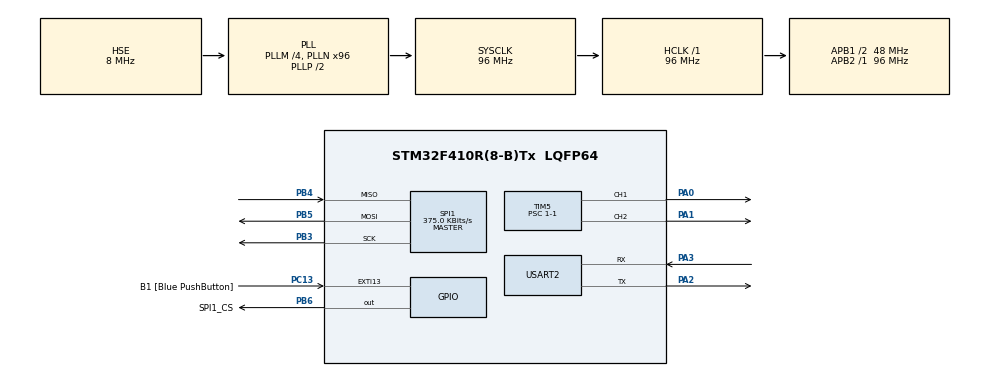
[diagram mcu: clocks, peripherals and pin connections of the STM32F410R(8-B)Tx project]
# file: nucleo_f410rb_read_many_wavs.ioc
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Dma.Request0=SPI1_RX
Dma.Request1=SPI1_TX
Dma.Request2=TIM5_CH1
Dma.Request3=TIM5_CH2
Dma.SPI1_RX.0.Direction=DMA_PERIPH_TO_MEMORY
Dma.SPI1_RX.0.FIFOMode=DMA_FIFOMODE_DISABLE
Dma.SPI1_RX.0.Instance=DMA2_Stream2
Dma.SPI1_RX.0.MemDataAlignment=DMA_MDATAALIGN_BYTE
Dma.SPI1_RX.0.MemInc=DMA_MINC_ENABLE
Dma.SPI1_RX.0.Mode=DMA_NORMAL
Dma.SPI1_RX.0.PeriphDataAlignment=DMA_PDATAALIGN_BYTE
Dma.SPI1_RX.0.PeriphInc=DMA_PINC_DISABLE
Dma.SPI1_RX.0.Priority=DMA_PRIORITY_LOW
Dma.SPI1_TX.1.Direction=DMA_MEMORY_TO_PERIPH
Dma.SPI1_TX.1.FIFOMode=DMA_FIFOMODE_DISABLE
Dma.SPI1_TX.1.Instance=DMA2_Stream3
Dma.SPI1_TX.1.MemDataAlignment=DMA_MDATAALIGN_BYTE
Dma.SPI1_TX.1.MemInc=DMA_MINC_ENABLE
Dma.SPI1_TX.1.Mode=DMA_NORMAL
Dma.SPI1_TX.1.PeriphDataAlignment=DMA_PDATAALIGN_BYTE
Dma.SPI1_TX.1.PeriphInc=DMA_PINC_DISABLE
Dma.SPI1_TX.1.Priority=DMA_PRIORITY_LOW
Dma.TIM5_CH1.2.Direction=DMA_MEMORY_TO_PERIPH
Dma.TIM5_CH1.2.FIFOMode=DMA_FIFOMODE_DISABLE
Dma.TIM5_CH1.2.Instance=DMA1_Stream2
Dma.TIM5_CH1.2.MemDataAlignment=DMA_MDATAALIGN_WORD
Dma.TIM5_CH1.2.MemInc=DMA_MINC_ENABLE
Dma.TIM5_CH1.2.Mode=DMA_CIRCULAR
Dma.TIM5_CH1.2.PeriphDataAlignment=DMA_PDATAALIGN_WORD
Dma.TIM5_CH1.2.PeriphInc=DMA_PINC_DISABLE
Dma.TIM5_CH1.2.Priority=DMA_PRIORITY_LOW
Dma.TIM5_CH2.3.Direction=DMA_MEMORY_TO_PERIPH
Dma.TIM5_CH2.3.FIFOMode=DMA_FIFOMODE_DISABLE
Dma.TIM5_CH2.3.Instance=DMA1_Stream4
Dma.TIM5_CH2.3.MemDataAlignment=DMA_MDATAALIGN_WORD
Dma.TIM5_CH2.3.MemInc=DMA_MINC_ENABLE
Dma.TIM5_CH2.3.Mode=DMA_CIRCULAR
Dma.TIM5_CH2.3.PeriphDataAlignment=DMA_PDATAALIGN_WORD
Dma.TIM5_CH2.3.PeriphInc=DMA_PINC_DISABLE
Dma.TIM5_CH2.3.Priority=DMA_PRIORITY_LOW
FATFS._USE_LABEL=1
FATFS._USE_LFN=1
Mcu.Family=STM32F4
Mcu.Name=STM32F410R(8-B)Tx
Mcu.Package=LQFP64
NVIC.DMA1_Stream2_IRQn=true\:0\:0\:false\:false\:true\:false\:true\:true
NVIC.DMA1_Stream4_IRQn=true\:0\:0\:false\:false\:true\:false\:true\:true
NVIC.DMA2_Stream2_IRQn=true\:0\:0\:false\:false\:true\:false\:true\:true
NVIC.DMA2_Stream3_IRQn=true\:0\:0\:false\:false\:true\:false\:true\:true
NVIC.EXTI15_10_IRQn=true\:0\:0\:false\:false\:true\:true\:true\:true
NVIC.PriorityGroup=NVIC_PRIORITYGROUP_4
PA0-WKUP.GPIO_Speed=GPIO_SPEED_FREQ_HIGH
PA0-WKUP.Signal=S_TIM5_CH1
PA1.GPIO_Speed=GPIO_SPEED_FREQ_HIGH
PA1.Signal=S_TIM5_CH2
PA13.Mode=Serial_Wire
PA13.Signal=SYS_JTMS-SWDIO
PA14.Mode=Serial_Wire
PA14.Signal=SYS_JTCK-SWCLK
PA2.Mode=Asynchronous
PA2.Signal=USART2_TX
PA3.Mode=Asynchronous
PA3.Signal=USART2_RX
PB3.Mode=Full_Duplex_Master
PB3.Signal=SPI1_SCK
PB4.Mode=Full_Duplex_Master
PB4.Signal=SPI1_MISO
PB5.Mode=Full_Duplex_Master
PB5.Signal=SPI1_MOSI
PB6.GPIO_Label=SPI1_CS
PB6.GPIO_Speed=GPIO_SPEED_FREQ_HIGH
PB6.PinState=GPIO_PIN_SET
PB6.Signal=GPIO_Output
PC13-ANTI_TAMP.GPIO_Label=B1 [Blue PushButton]
PC13-ANTI_TAMP.GPIO_ModeDefaultEXTI=GPIO_MODE_IT_RISING_FALLING
PC13-ANTI_TAMP.Signal=GPXTI13
PH0\ -\ OSC_IN.Mode=HSE-External-Oscillator
PH0\ -\ OSC_IN.Signal=RCC_OSC_IN
PH1\ -\ OSC_OUT.Mode=HSE-External-Oscillator
PH1\ -\ OSC_OUT.Signal=RCC_OSC_OUT
ProjectManager.HeapSize=0x200
ProjectManager.StackSize=0x400
ProjectManager.TargetToolchain=STM32CubeIDE
RCC.48MHZClocksFreq_Value=48000000
RCC.AHBFreq_Value=96000000
RCC.APB1CLKDivider=RCC_HCLK_DIV2
RCC.APB1Freq_Value=48000000
RCC.APB1TimFreq_Value=96000000
RCC.APB2Freq_Value=96000000
RCC.APB2TimFreq_Value=96000000
RCC.CortexFreq_Value=96000000
RCC.HCLKFreq_Value=96000000
RCC.HSE_VALUE=8000000
RCC.HSI_VALUE=16000000
RCC.LSE_VALUE=32768
RCC.PLLM=4
RCC.PLLN=96
RCC.PLLSourceVirtual=RCC_PLLSOURCE_HSE
RCC.SYSCLKFreq_VALUE=96000000
RCC.SYSCLKSource=RCC_SYSCLKSOURCE_PLLCLK
RCC.VCOOutputFreq_Value=192000000
SH.S_TIM5_CH1.0=TIM5_CH1,PWM Generation1 CH1
SH.S_TIM5_CH2.0=TIM5_CH2,PWM Generation2 CH2
SPI1.BaudRatePrescaler=SPI_BAUDRATEPRESCALER_256
SPI1.CalculateBaudRate=375.0 KBits/s
SPI1.Direction=SPI_DIRECTION_2LINES
SPI1.Mode=SPI_MODE_MASTER
SPI1.VirtualType=VM_MASTER
TIM5.Channel-PWM\ Generation1\ CH1=TIM_CHANNEL_1
TIM5.Channel-PWM\ Generation2\ CH2=TIM_CHANNEL_2
TIM5.Period=2000-1
TIM5.Prescaler=1-1
USART2.VirtualMode=VM_ASYNC
VP_FATFS_VS_Generic.Mode=User_defined
board=custom

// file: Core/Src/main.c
/* USER CODE BEGIN Header */
/**
 ******************************************************************************
 * @file           : main.c
 * @brief          : Main program body
 ******************************************************************************
 * @attention
 *
 * Copyright (c) 2026 STMicroelectronics.
 * All rights reserved.
 *
 * This software is licensed under terms that can be found in the LICENSE file
 * in the root directory of this software component.
 * If no LICENSE file comes with this software, it is provided AS-IS.
 *
 ******************************************************************************
 */
/* USER CODE END Header */
#include "main.h"
#include "fatfs.h"

/* USER CODE BEGIN Includes */
// Standard libraries
#include <stdio.h>
#include <string.h>
#include <stdlib.h>
#include <ctype.h>

// FATFS module from ELM by ChaN
#include "ff.h"
#include "ffconf.h"

// SD card interfacing module by ControllersTech
#include "sd_diskio_spi.h"
#include "sd_functions.h"
#include "sd_spi.h"

// Files specific to this program
#include "sd_wav.h"
#include "pcm_processing.h"
/* USER CODE END Includes */

SPI_HandleTypeDef hspi1;
DMA_HandleTypeDef hdma_spi1_rx;
DMA_HandleTypeDef hdma_spi1_tx;

TIM_HandleTypeDef htim5;
DMA_HandleTypeDef hdma_tim5_ch1;
DMA_HandleTypeDef hdma_tim5_ch2;

UART_HandleTypeDef huart2;

/* USER CODE BEGIN PV */
uint8_t riff_header_chunk[12]; // Array to store RIFF chunk contents

// Arrays to temporarily store the chunk ID and size for each chunk we analyse
uint8_t chunk_id[4];   // Array to store chunk ID/chunk "name"
uint8_t chunk_size[4]; // Array to store chunk size in little-endian mode

/* Variables relating to the parameters of the audio file start */
// Decimal representations
uint32_t file_size_dec;    	   // Total file size
uint32_t fmt_size_dec;         // fmt chunk size
uint32_t data_size_dec;        // data chunk size
uint32_t chunk_size_dec;       // Chunk size
uint16_t channels_dec;         // Number of channels
uint32_t sample_rate_dec;      // Sample rate
uint32_t byte_rate_dec;        // Byte rate
uint16_t block_align_dec;      // Block align
uint16_t bytes_per_sample_dec; // Bytes per sample = sample depth / 8

// Binary representations
uint8_t audio_fmt[2];    // Audio format
uint8_t channels[2];     // Number of channels
uint8_t sample_rate[4];  // Sample rate
uint8_t byte_rate[4];    // Byte rate
uint8_t block_align[2];  // Block align
uint8_t sample_depth[2]; // Sample depth (in bits)
/* Variables relating to the parameters of the audio file end */

// Expected values necessary for an uncompressed WAV file.
const uint8_t exp_fmt[4] = { 0x66, 0x6D, 0x74, 0x20 };  // "fmt "
const uint8_t exp_data[4] = { 0x64, 0x61, 0x74, 0x61 }; // "data"
const uint32_t exp_fmt_sz_dec = 16;                     // 16 for standard PCM WAV
const uint8_t exp_audio_fmt[2] = { 0x01, 0x00 };        // 1 for standard PCM WAV
const uint8_t stereo[2] = { 0x02, 0x00 };               // 2 for stereo

// Variables to use as we increment along the audio data in a WAV file
uint32_t data_bytes_read = 0; // Variable to store the number of bytes read from the data chunk
uint32_t skip = 12;           // RIFF chunk is size 12 so this first initialised value skips to the chunk after RIFF
uint32_t skip_fmt = 0;        // skip variable to record down and increment the start of the fmt chunk's useful data
uint32_t skip_data = 0;       // skip variable to record down and increment the start of the data chunk's useful data
uint32_t data_start;          // Variable to record down to start of the audio data.

// Buffers and storage spaces to store raw or processed data
uint8_t bufr[8192];   // Array to store PCM data immediately from SD card, give 8 KiB = 8192 B of space
uint32_t ccr_l[2048]; // Array to store CCR values for left channel. The PWM function requires CCR to be a 32-bit integer to work properly.
uint32_t ccr_r[2048]; // Array to store CCR values for right channel. The PWM function requires CCR to be a 32-bit integer to work properly.

// Variables for use by FATFS
FIL file;               // File variable
FRESULT res;            // Result of file operations with FATFS. Mostly useful for debugging.
extern char sd_path[4]; // Array to store the path to the SD card. This will usually be "0:/". The fourth character is the null-terminator \0

// Variables for button functionality
const uint32_t DEBOUNCE_TIME = 20; // Ignore rogue button bounces, this is the time in ms to ignore successive button presses
const uint32_t SUCCESSIVE_BUTTON_PRESS_TIME = 750; // Wait for this amount of time before deciding between single or double press

volatile uint8_t previous_state; // Boolean variable to store the previous state of the button
volatile uint8_t pressed;        // Boolean variable to store current state of button. pressed = 1, released = 0
volatile uint8_t waiting;        // Boolean variable to store the state of whether we are waiting for a second button press or not
volatile uint32_t press_time;    // Tick of button press
volatile uint32_t release_time;  // Tick of button release
volatile uint8_t play = 1;       // Boolean variable to store whether to play or not (play vs pause/stop)

// Miscellaneous variables
uint32_t ARR; // Variable to store ARR value
UINT br;      // Variable to store bytes read for use when reading files

/* Enumerations start */
// Define an enumeration variable which will tell the code to refill the first or second half of the bufr/ccr array.
// refill_request needs to be volatile because it will be accessed by the interrupt
// This prevents the compiler from trying to cache refill_request in order to "optimise speed"
// volatile forces the compiler to check the original memory location whenever we need refill_request instead of caching it.
enum refill_t {
	REFILL_NONE, REFILL_FIRST, REFILL_SECOND
};

volatile enum refill_t refill_request = REFILL_NONE;

// Define an enumeration variable which will tell the code to pause/resume, skip, or rewind based on button press
// As above, button_request needs to be volatile
enum button_t {
	BUTTON_IDLE, BUTTON_SINGLE_PRESS, BUTTON_DOUBLE_PRESS, BUTTON_LONG_PRESS
};

volatile enum button_t button_state = BUTTON_IDLE;
/* Enumerations end */
/* USER CODE END PV */

void SystemClock_Config(void);
static void MX_GPIO_Init(void);
static void MX_DMA_Init(void);
static void MX_SPI1_Init(void);
static void MX_TIM5_Init(void);
static void MX_USART2_UART_Init(void);

/* USER CODE BEGIN 0 */
// Define a custom function to print to the console via UART
// This allows us to use printf to transmit via UART instead of doing HAL_UART_Transmit all the time
int _write(int fd, unsigned char *buf, int len) {
	if (fd == 1 || fd == 2) {                     // stdout or stderr ?
		HAL_UART_Transmit(&huart2, buf, len, 999);  // Print to the UART
	}
	return len;
}

// Define a function to determine whether a file is .wav or not
static uint8_t has_wav_extension(char *name) {
	// Find position of dot
	const char *dot = strrchr(name, '.');
	// Case of file has no dot/no extension
	if (!dot)
		return 0;

	return (tolower((unsigned char)dot[1]) == 'w' &&
	tolower((unsigned char)dot[2]) == 'a' &&
	tolower((unsigned char)dot[3]) == 'v' && dot[4] == '\0');
}

// Called by main either if button interrupt or waiting is true
// Determines whether a button is a short single, long single, or double press
enum button_t process_button(void) {
	uint32_t now = HAL_GetTick();
	enum button_t button_event = BUTTON_IDLE;

	// If button is pressed (doesn't matter if it is first or second press)
	// Need both because we are considering an edge, not just the value itself.
	if (pressed && !previous_state) {
		press_time = now;
	// Else if button was released the first time
	// Need both because we are considering an edge, not just the value itself.
	} else if (!pressed && previous_state) {
		release_time = now;

		if (release_time - press_time >= SUCCESSIVE_BUTTON_PRESS_TIME) {
			waiting = 0;
			button_event = BUTTON_LONG_PRESS;
		}
		// Else if button was released the second time
		else if (waiting) {
			waiting = 0;
			button_event = BUTTON_DOUBLE_PRESS;
		} else {
		waiting = 1;
		}
	}

	// Separately, if it's been 500 ms since the first button release, and the button is not pressed at the moment
	if (waiting && !pressed & ((now - release_time) >= SUCCESSIVE_BUTTON_PRESS_TIME)) {
		waiting = 0;
		button_event = BUTTON_SINGLE_PRESS;
	}
	previous_state = pressed;
	return button_event;
}

// Function called when first half of the array has been transmitted to PWM
// We thus need to change the contents of the first half of the buffer and ccr
void HAL_TIM_PWM_PulseFinishedHalfCpltCallback(TIM_HandleTypeDef *htim) {
	if (htim->Instance == TIM5 && htim->Channel == HAL_TIM_ACTIVE_CHANNEL_2) {
		refill_request = REFILL_FIRST;
	}
}

// Function called when all of the array, and therefore the second half of the array, has been transmitted to PWM
// We thus need to change the contents of the second half of the buffer and ccr
void HAL_TIM_PWM_PulseFinishedCallback(TIM_HandleTypeDef *htim) {
	if (htim->Instance == TIM5 && htim->Channel == HAL_TIM_ACTIVE_CHANNEL_2) {
		refill_request = REFILL_SECOND;
	}
}

// Function called when an External Interrupt event happens. In this case, the blue button being pushed
void HAL_GPIO_EXTI_Callback(uint16_t GPIO_Pin) {
	if (GPIO_Pin == GPIO_PIN_13) {
		uint32_t now = HAL_GetTick();

		if ((now - release_time) > DEBOUNCE_TIME) {
			// Button is active-low due to a pull-up resistor. So when pin is 1, button is actually not pressed/pressed = 0.
			pressed = (HAL_GPIO_ReadPin(GPIOC, GPIO_PIN_13) == GPIO_PIN_RESET);
		}
	}
}
/* USER CODE END 0 */

int main(void)
{

  /* MCU Configuration--------------------------------------------------------*/

  /* Reset of all peripherals, Initializes the Flash interface and the Systick. */
  HAL_Init();

  /* Configure the system clock */
  SystemClock_Config();

  /* Initialize all configured peripherals */
  MX_GPIO_Init();
  MX_DMA_Init();
  MX_SPI1_Init();
  MX_TIM5_Init();
  MX_USART2_UART_Init();
//  MX_FATFS_Init();
  /* USER CODE BEGIN 2 */
	// This is where we change the Baud Rate Prescaler to make the SD card read/write speed faster
	// Temporarily disable the SPI if we want to change the baud rate
	__HAL_SPI_DISABLE(&hspi1);

	// Reduce the prescaler to increase the baud rate
	// If we want to send PWM signals at 48 kHz (which is equal to the sample rate)
	// And if one sample is 4 bytes (2 bytes for left and 2 bytes for right channel)
	// Then we need to read the SD card at an SPI baud rate of 192 KBps = 1.536 Mbps
	// Since SPI1 takes clock from APB2 which is 96 MHz/96 Mbps, the maximum prescaler according to APB2/prescaler = SPI baud rate
	// is 62.5. So we can have at most prescaler of 32.
	// However, this isn't exactly linear as there is also the time needed to tell the SD card that we would like to read, etc.
	// So lowest prescaler as possible is best. Prescaler 8 chosen because it seems beyond this is too fast.
	MODIFY_REG(hspi1.Instance->CR1, SPI_CR1_BR, SPI_BAUDRATEPRESCALER_8);

	// Re-enable the SPI
	__HAL_SPI_ENABLE(&hspi1);

	// 0. Mount SD card
	sd_mount();

	// 1a. Open the Music folder
	DIR dir;
	FILINFO fno;

	res = f_opendir(&dir, "Music");
	if (res != FR_OK) {
		printf("Failed to open Music directory with error: %d\r\n", res);
		return 1;
	}
  /* USER CODE END 2 */

  /* Infinite loop */
  /* USER CODE BEGIN WHILE */
	// 1b. For every WAV file in Music folder:
	while (1) {
		// Hard-reset the variables we use to increment
		data_bytes_read = 0; // Variable to store the number of bytes read from the data chunk
		skip = 12;           // RIFF chunk is size 12 so this first initialised value skips to the chunk after RIFF
		skip_fmt = 0;        // skip variable to record down the start of the fmt chunk's useful data
		skip_data = 0;       // skip variable to record down the start of the data chunk's useful data

		char fullname[256] = "Music/";
		res = f_readdir(&dir, &fno);

		// No more WAV files to read
		if (res != FR_OK || fno.fname[0] == 0) {
			f_closedir(&dir);
			__WFI();
		}

		// If we stumble upon a subfolder
		if (fno.fattrib & AM_DIR) {
			continue; // skip
		}

		// If we stumble upon a regular file
		// Get its name
		char *name = fno.fname;
		// Check whether it is a .wav file
		if (!has_wav_extension(name)) {
			continue; // skip
		}

		// Get the full name of the file, which is "Music/<filename>.wav"
		strcat(fullname, name);

		// 2. Initialise reading wav file
		// Read first 12 bytes.
		sd_wav_init(fullname, riff_header_chunk, sizeof(riff_header_chunk),
				&br);

		// Ensure it is RIFFxxxxWAVE
		// Because array slicing doesn't exist in C, it is a hassle to use memcmp to verify the riff_header_chunk contents
		// So just use "brute force"
		if (riff_header_chunk[0] != 0x52 || // R
				riff_header_chunk[1] != 0x49 || // I
				riff_header_chunk[2] != 0x46 || // F
				riff_header_chunk[3] != 0x46 || // F
				riff_header_chunk[8] != 0x57 || // W
				riff_header_chunk[9] != 0x41 || // A
				riff_header_chunk[10] != 0x56 || // V
				riff_header_chunk[11] != 0x45)   // E
						{
			printf("Only .wav files permitted.\r\n");
			return 2;
		}

		// 3. Determine the file size. This is useful to compare against the skip variable later to know when we reach file end
		// File size in bytes is the elements 4 through 7 of riff_header_chunk, in little-endian mode, plus 8.
		file_size_dec = (((uint32_t) riff_header_chunk[4])
				| ((uint32_t) riff_header_chunk[5] << 8)
				| ((uint32_t) riff_header_chunk[6] << 16)
				| ((uint32_t) riff_header_chunk[7] << 24)) + 8; // Little-endian: the first byte is actually the least significant byte!

		ARR = __HAL_TIM_GET_AUTORELOAD(&htim5);

		// 4. Find the fmt and data chunks
		while (skip < file_size_dec) {
			// Read the next 4 bytes which is the chunk identifier
			sd_wav_read(fullname, chunk_id, sizeof(chunk_id), skip, &br);
			skip += (uint32_t) sizeof(chunk_id); // Progress the skip value

			// Read the next 4 bytes which is the chunk size
			sd_wav_read(fullname, chunk_size, sizeof(chunk_size), skip, &br);
			skip += (uint32_t) sizeof(chunk_size); // Progress the skip value
			chunk_size_dec = ((uint32_t) chunk_size[0])
					| ((uint32_t) chunk_size[1] << 8)
					| ((uint32_t) chunk_size[2] << 16)
					| ((uint32_t) chunk_size[3] << 24);

			// Detect where the fmt chunk is
			if (memcmp(chunk_id, exp_fmt, (int) sizeof(exp_fmt)) == 0) {
				skip_fmt = skip;
				fmt_size_dec = chunk_size_dec;
			}
			// Detect where the data chunk is
			else if (memcmp(chunk_id, exp_data, (int) sizeof(exp_data)) == 0) {
				skip_data = skip;
				data_start = skip;
				data_size_dec = chunk_size_dec;
			}
			// Ignore any other chunk
			else {
				printf("Skipped %4s chunk.\r\n", chunk_id);
			}
			// Skip to end of this chunk
			skip += chunk_size_dec;

			// We are finished if we've detected where the fmt and data chunk are.
			if ((skip_fmt != 0) && (skip_data != 0)) {
				break;
			}
		}

		// 5. Process the fmt chunk
		// Verify chunk size = 16 for PCM WAV (i.e., standard, uncompressed PCM WAV)
		if (fmt_size_dec != exp_fmt_sz_dec) {
			printf("Given .wav file not standard PCM.\r\n");
			return 3;
		}

		// Read the next 2 bytes. This is the "audio format". Verify it is 1 for standard, uncompressed PCM WAV
		sd_wav_read(fullname, audio_fmt, sizeof(audio_fmt), skip_fmt, &br);
		skip_fmt += (uint32_t) sizeof(audio_fmt); // Progress the skip value
		if (memcmp(audio_fmt, exp_audio_fmt, sizeof(exp_audio_fmt)) != 0) {
			printf("Given .wav file not standard PCM.\r\n");
			return 4;
		}

		// Read the next 2 bytes. This is the number of channels. Verify it is 1 or 2 (only support mono or stereo)
		sd_wav_read(fullname, channels, sizeof(channels), skip_fmt, &br);
		skip_fmt += (uint32_t) sizeof(channels); // Progress the skip value
		if (memcmp(channels, stereo, sizeof(stereo)) != 0) {
			printf("Given .wav file not stereo.\r\n");
			return 5;
		}
		channels_dec = ((uint32_t) channels[0]) | ((uint32_t) channels[1] << 8);

		// Read the next 4 bytes. This is the sample rate (in Hz)
		sd_wav_read(fullname, sample_rate, sizeof(sample_rate), skip_fmt, &br);
		skip_fmt += (uint32_t) sizeof(sample_rate); // Progress the skip value
		sample_rate_dec = ((uint32_t) sample_rate[0])
				| ((uint32_t) sample_rate[1] << 8)
				| ((uint32_t) sample_rate[2] << 16)
				| ((uint32_t) sample_rate[3] << 24);

		// Read the next 4 bytes. This is the byte rate (in Bps)
		sd_wav_read(fullname, byte_rate, sizeof(byte_rate), skip_fmt, &br);
		skip_fmt += (uint32_t) sizeof(byte_rate); // Progress the skip value
		byte_rate_dec = ((uint32_t) byte_rate[0])
				| ((uint32_t) byte_rate[1] << 8)
				| ((uint32_t) byte_rate[2] << 16)
				| ((uint32_t) byte_rate[3] << 24);

		// Read the next 2 bytes. This is the block align (in bytes per block)
		sd_wav_read(fullname, block_align, sizeof(block_align), skip_fmt, &br);
		skip_fmt += (uint32_t) sizeof(block_align); // Progress the skip value
		block_align_dec = ((uint32_t) block_align[0])
				| ((uint32_t) block_align[1] << 8);

		// Read the next 2 bytes. This is the sample depth (in bits). Then divide by 8 to get bytes per sample
		sd_wav_read(fullname, sample_depth, sizeof(sample_depth), skip_fmt,
				&br);
		skip_fmt += (uint32_t) sizeof(sample_depth); // Progress the skip value
		bytes_per_sample_dec = (((uint32_t) sample_depth[0])
				| ((uint32_t) sample_depth[1] << 8)) / 8;

		// We will not support 32-bit or more sample depth files because those are uncommon and require a bit more code
		if (bytes_per_sample_dec >= 4) {
			printf(
					"Sample depth %u bits too large and unsupported. Must be 8, 16, or 24.",
					bytes_per_sample_dec);
			return 6;
		}
		// Finish processing fmt chunk

		// 6. Process the data chunk
		// 6a. Open the file
		FRESULT res = f_open(&file, fullname, FA_READ);
		if (res != FR_OK) {
			printf("f_open failed with code: %d\r\n", res);
			return res;
		}

		// 6b. Read the first 8192 bytes of data
		// Fill first half of ccr's
		process_pcm(1, ARR);
		// Fill second half of ccr's
		process_pcm(2, ARR);

		// 6c. Start sending to PWM
		// Remember duty cycle = CCR/ARR for each channel at each instance of time.
		// Direct memory access (DMA) allows us to send/receive data without involving the CPU
		// So the CPU can focus on refilling the CCR's for the next package of data.
		// DMA is in Circular mode which means it repeatedly sends PWM signals, as if in a very efficient while loop
		HAL_TIM_PWM_Start_DMA(&htim5, TIM_CHANNEL_1, (uint32_t*) ccr_l,
				sizeof(ccr_l) / sizeof(ccr_l[0]));
		HAL_TIM_PWM_Start_DMA(&htim5, TIM_CHANNEL_2, (uint32_t*) ccr_r,
				sizeof(ccr_r) / sizeof(ccr_r[0]));
    /* USER CODE END WHILE */

    /* USER CODE BEGIN 3 */
		// 6d. Repeat until we reach end of the data chunk.
		while (1) {
			button_state = process_button();

			// If Idle and play is on, play as per normal
			if (button_state == BUTTON_IDLE) {
				if (play) {
					if (data_bytes_read < data_size_dec) {
						if (refill_request == REFILL_FIRST) {
							refill_request = REFILL_NONE;
							// Function to replace the first half of ccr's
							process_pcm(1, ARR);
						} else if (refill_request == REFILL_SECOND) {
							refill_request = REFILL_NONE;
							// Function to replace the second half of ccr's
							process_pcm(2, ARR);
						}
					} else if (data_bytes_read == data_size_dec) {
						// You have now finished reading the PCM data
						HAL_TIM_PWM_Stop_DMA(&htim5, TIM_CHANNEL_1);
						HAL_TIM_PWM_Stop_DMA(&htim5, TIM_CHANNEL_2);

						// Remember to close the file
						res = f_close(&file);
						if (res != FR_OK) {
							printf("f_close failed with code: %d\r\n", res);
							return res;
						}

						// Verify that we have read the entire data chunk upon unmount
						printf("Bytes of data read: %lu bytes\r\n", data_bytes_read);
						printf("Bytes of data actually there: %lu bytes \r\n",
								data_size_dec);
						printf("DATA chunk processed. Step 4 success.\r\n\n");

						break;
					}
				}
			// Else if Single Press, alternate between pausing and resuming
			} else if (button_state == BUTTON_SINGLE_PRESS) {
				if (play) {
					printf("Single press. Pausing.\r\n");
					HAL_TIM_PWM_Stop_DMA(&htim5, TIM_CHANNEL_1);
					HAL_TIM_PWM_Stop_DMA(&htim5, TIM_CHANNEL_2);
					play = !play;
				} else {
					printf("Single press. Resuming.\r\n");
					HAL_TIM_PWM_Start_DMA(&htim5, TIM_CHANNEL_1, (uint32_t*) ccr_l,
									sizeof(ccr_l) / sizeof(ccr_l[0]));
					HAL_TIM_PWM_Start_DMA(&htim5, TIM_CHANNEL_2, (uint32_t*) ccr_r,
							sizeof(ccr_r) / sizeof(ccr_r[0]));
					play = !play;
				}
				waiting = 0;
			// Else if Double press, skip song. Done by setting data_bytes_read to data_size_dec to force to end.
			} else if (button_state == BUTTON_DOUBLE_PRESS) {
				printf("Double press. Skipping.\r\n");
				waiting = 0;
				data_bytes_read = data_size_dec;
			// Else if Long press, rewind song. Done by just resetting data_bytes_read and skip_data
			} else if (button_state == BUTTON_LONG_PRESS) {
				printf("Long press. Rewinding.\r\n");
				waiting = 0;
				data_bytes_read = 0;
				skip_data = data_start;
			}
		}
		// 1 second delay between songs
		HAL_Delay(1000);
	}
	// Remember to close the Music folder and unmount the SD card upon finishing
	f_closedir(&dir);
	sd_unmount();
  /* USER CODE END 3 */
}

void SystemClock_Config(void)
{
  RCC_OscInitTypeDef RCC_OscInitStruct = {0};
  RCC_ClkInitTypeDef RCC_ClkInitStruct = {0};

  /** Configure the main internal regulator output voltage
  */
  __HAL_RCC_PWR_CLK_ENABLE();
  __HAL_PWR_VOLTAGESCALING_CONFIG(PWR_REGULATOR_VOLTAGE_SCALE1);

  /** Initializes the RCC Oscillators according to the specified parameters
  * in the RCC_OscInitTypeDef structure.
  */
  RCC_OscInitStruct.OscillatorType = RCC_OSCILLATORTYPE_HSE;
  RCC_OscInitStruct.HSEState = RCC_HSE_ON;
  RCC_OscInitStruct.PLL.PLLState = RCC_PLL_ON;
  RCC_OscInitStruct.PLL.PLLSource = RCC_PLLSOURCE_HSE;
  RCC_OscInitStruct.PLL.PLLM = 4;
  RCC_OscInitStruct.PLL.PLLN = 96;
  RCC_OscInitStruct.PLL.PLLP = RCC_PLLP_DIV2;
  RCC_OscInitStruct.PLL.PLLQ = 4;
  RCC_OscInitStruct.PLL.PLLR = 2;
  if (HAL_RCC_OscConfig(&RCC_OscInitStruct) != HAL_OK)
  {
    Error_Handler();
  }

  /** Initializes the CPU, AHB and APB buses clocks
  */
  RCC_ClkInitStruct.ClockType = RCC_CLOCKTYPE_HCLK|RCC_CLOCKTYPE_SYSCLK
                              |RCC_CLOCKTYPE_PCLK1|RCC_CLOCKTYPE_PCLK2;
  RCC_ClkInitStruct.SYSCLKSource = RCC_SYSCLKSOURCE_PLLCLK;
  RCC_ClkInitStruct.AHBCLKDivider = RCC_SYSCLK_DIV1;
  RCC_ClkInitStruct.APB1CLKDivider = RCC_HCLK_DIV2;
  RCC_ClkInitStruct.APB2CLKDivider = RCC_HCLK_DIV1;

  if (HAL_RCC_ClockConfig(&RCC_ClkInitStruct, FLASH_LATENCY_3) != HAL_OK)
  {
    Error_Handler();
  }
}

static void MX_SPI1_Init(void)
{

  /* SPI1 parameter configuration*/
  hspi1.Instance = SPI1;
  hspi1.Init.Mode = SPI_MODE_MASTER;
  hspi1.Init.Direction = SPI_DIRECTION_2LINES;
  hspi1.Init.DataSize = SPI_DATASIZE_8BIT;
  hspi1.Init.CLKPolarity = SPI_POLARITY_LOW;
  hspi1.Init.CLKPhase = SPI_PHASE_1EDGE;
  hspi1.Init.NSS = SPI_NSS_SOFT;
  hspi1.Init.BaudRatePrescaler = SPI_BAUDRATEPRESCALER_256;
  hspi1.Init.FirstBit = SPI_FIRSTBIT_MSB;
  hspi1.Init.TIMode = SPI_TIMODE_DISABLE;
  hspi1.Init.CRCCalculation = SPI_CRCCALCULATION_DISABLE;
  hspi1.Init.CRCPolynomial = 15;
  if (HAL_SPI_Init(&hspi1) != HAL_OK)
  {
    Error_Handler();
  }

}

static void MX_TIM5_Init(void)
{

  TIM_MasterConfigTypeDef sMasterConfig = {0};
  TIM_OC_InitTypeDef sConfigOC = {0};

  htim5.Instance = TIM5;
  htim5.Init.Prescaler = 1-1;
  htim5.Init.CounterMode = TIM_COUNTERMODE_UP;
  htim5.Init.Period = 2000-1;
  htim5.Init.ClockDivision = TIM_CLOCKDIVISION_DIV1;
  htim5.Init.AutoReloadPreload = TIM_AUTORELOAD_PRELOAD_DISABLE;
  if (HAL_TIM_PWM_Init(&htim5) != HAL_OK)
  {
    Error_Handler();
  }
  sMasterConfig.MasterOutputTrigger = TIM_TRGO_RESET;
  sMasterConfig.MasterSlaveMode = TIM_MASTERSLAVEMODE_DISABLE;
  if (HAL_TIMEx_MasterConfigSynchronization(&htim5, &sMasterConfig) != HAL_OK)
  {
    Error_Handler();
  }
  sConfigOC.OCMode = TIM_OCMODE_PWM1;
  sConfigOC.Pulse = 0;
  sConfigOC.OCPolarity = TIM_OCPOLARITY_HIGH;
  sConfigOC.OCFastMode = TIM_OCFAST_DISABLE;
  if (HAL_TIM_PWM_ConfigChannel(&htim5, &sConfigOC, TIM_CHANNEL_1) != HAL_OK)
  {
    Error_Handler();
  }
  if (HAL_TIM_PWM_ConfigChannel(&htim5, &sConfigOC, TIM_CHANNEL_2) != HAL_OK)
  {
    Error_Handler();
  }
  HAL_TIM_MspPostInit(&htim5);

}

static void MX_USART2_UART_Init(void)
{

  huart2.Instance = USART2;
  huart2.Init.BaudRate = 115200;
  huart2.Init.WordLength = UART_WORDLENGTH_8B;
  huart2.Init.StopBits = UART_STOPBITS_1;
  huart2.Init.Parity = UART_PARITY_NONE;
  huart2.Init.Mode = UART_MODE_TX_RX;
  huart2.Init.HwFlowCtl = UART_HWCONTROL_NONE;
  huart2.Init.OverSampling = UART_OVERSAMPLING_16;
  if (HAL_UART_Init(&huart2) != HAL_OK)
  {
    Error_Handler();
  }

}

static void MX_DMA_Init(void)
{

  /* DMA controller clock enable */
  __HAL_RCC_DMA2_CLK_ENABLE();
  __HAL_RCC_DMA1_CLK_ENABLE();

  /* DMA interrupt init */
  /* DMA1_Stream2_IRQn interrupt configuration */
  HAL_NVIC_SetPriority(DMA1_Stream2_IRQn, 0, 0);
  HAL_NVIC_EnableIRQ(DMA1_Stream2_IRQn);
  /* DMA1_Stream4_IRQn interrupt configuration */
  HAL_NVIC_SetPriority(DMA1_Stream4_IRQn, 0, 0);
  HAL_NVIC_EnableIRQ(DMA1_Stream4_IRQn);
  /* DMA2_Stream2_IRQn interrupt configuration */
  HAL_NVIC_SetPriority(DMA2_Stream2_IRQn, 0, 0);
  HAL_NVIC_EnableIRQ(DMA2_Stream2_IRQn);
  /* DMA2_Stream3_IRQn interrupt configuration */
  HAL_NVIC_SetPriority(DMA2_Stream3_IRQn, 0, 0);
  HAL_NVIC_EnableIRQ(DMA2_Stream3_IRQn);

}

static void MX_GPIO_Init(void)
{
  GPIO_InitTypeDef GPIO_InitStruct = {0};

  /* GPIO Ports Clock Enable */
  __HAL_RCC_GPIOC_CLK_ENABLE();
  __HAL_RCC_GPIOH_CLK_ENABLE();
  __HAL_RCC_GPIOA_CLK_ENABLE();
  __HAL_RCC_GPIOB_CLK_ENABLE();

  /*Configure GPIO pin Output Level */
  HAL_GPIO_WritePin(SPI1_CS_GPIO_Port, SPI1_CS_Pin, GPIO_PIN_SET);

  /*Configure GPIO pin : B1_Pin */
  GPIO_InitStruct.Pin = B1_Pin;
  GPIO_InitStruct.Mode = GPIO_MODE_IT_RISING_FALLING;
  GPIO_InitStruct.Pull = GPIO_NOPULL;
  HAL_GPIO_Init(B1_GPIO_Port, &GPIO_InitStruct);

  /*Configure GPIO pin : SPI1_CS_Pin */
  GPIO_InitStruct.Pin = SPI1_CS_Pin;
  GPIO_InitStruct.Mode = GPIO_MODE_OUTPUT_PP;
  GPIO_InitStruct.Pull = GPIO_NOPULL;
  GPIO_InitStruct.Speed = GPIO_SPEED_FREQ_HIGH;
  HAL_GPIO_Init(SPI1_CS_GPIO_Port, &GPIO_InitStruct);

  /* EXTI interrupt init*/
  HAL_NVIC_SetPriority(EXTI15_10_IRQn, 0, 0);
  HAL_NVIC_EnableIRQ(EXTI15_10_IRQn);

}

void Error_Handler(void)
{
	__disable_irq();
	while (1) {
	}
}
